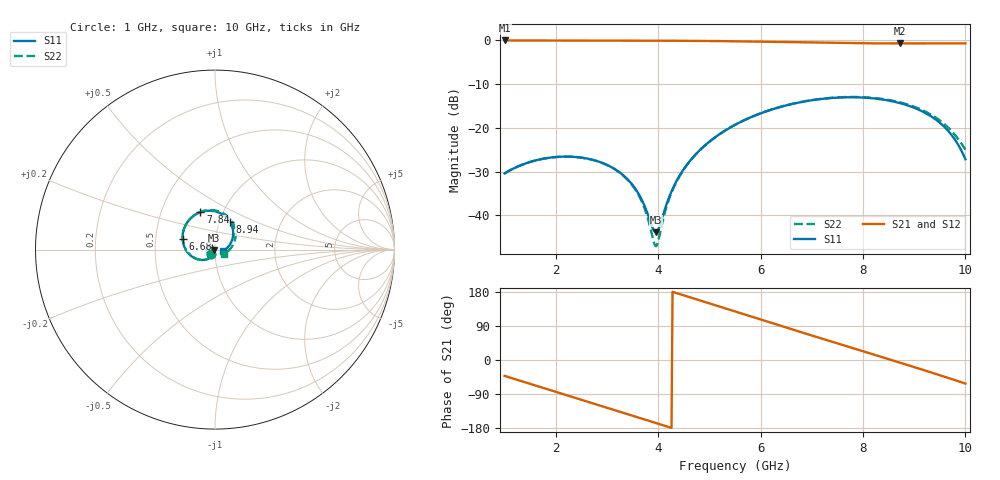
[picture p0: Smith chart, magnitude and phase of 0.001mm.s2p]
! Touchstone file exported from HFSS 2018.2.0
!  File:  C:/Users/10024/OneDrive - The University of Nottingham Ningbo China/Year 4/Final Year Project/HFSS project/Passive_Resonator_Antenna.aedt
!  Generated:  11:25:45 上午  3月 12, 2022
!  Design:  SMA_Thru
!  Project:  Passive_Resonator_Antenna
!  Setup:  Setup1
!  Solution:  Sweep
! Variables:
!  MW = 1.992mm
!  ThruL = 0.001mm
!  g = 0.2mm
!  subH = 0.8mm
!  subX = 20mm
!  subY = 10.001mm
!  tapW = 1.992mm
# GHZ S MA R 50.000000
! Modal data exported
! Port[1] = SMA_CONNECTOR1_1:1
! Port[2] = SMA_CONNECTOR2_1:1
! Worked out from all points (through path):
!   451 points, 1 GHz to 10 GHz, reference 50 ohm
!   highest |S21| = -0.01 dB at 1 GHz (marker M1); lowest = -0.7 dB at 8.72 GHz (marker M2)
!   group delay of S21, straight-line fit = 117 ps
!   lowest |S11| = -43.9 dB at 3.96 GHz (marker M3), VSWR 1.01, Z = 49.4 - j0.136 ohm
!   |S11| at or under -10 dB: start of sweep to end of sweep
!   |S22| runs from -47.1 to -12.9 dB; largest |S21 - S12| = 2.8e-14
!   S11 on the Smith chart (normalised r, x): 1 GHz: 0.96, -0.04; 6.68 GHz: 0.69, +0.09; 7.84 GHz: 0.78, +0.34; 8.94 GHz: 1.12, +0.36; 10 GHz: 1.09, -0.02
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1  0.03006 -131.0  0.9989 -42.0  0.9989 -42.0  0.03007 -133.3
! Gamma ! 0.0151858380091119 30.3716836111765 0.0151858380091291 30.3716836111941
! Port Impedance50 0 50 0
1.78  0.04456 -163.2  0.9975 -74.7  0.9975 -74.7  0.04455 -165.3
2.5  0.04561 168.0  0.9963 -104.9  0.9963 -104.9  0.04555 165.4
3.04  0.03668 147.9  0.9953 -127.6  0.9953 -127.6  0.03653 144.4
3.44  0.02437 136.5  0.9945 -144.5  0.9945 -144.5  0.02404 131.2
3.7  0.01415 137.3  0.9938 -155.5  0.9938 -155.5  0.01346 128.8
3.92  0.006632 175.5  0.993 -164.8  0.993 -164.8  0.004796 167.4
3.96  0.006391 -167.6  0.9928 -166.5  0.9928 -166.5  0.004424 -168.0
4  0.006851 -150.8  0.9926 -168.2  0.9926 -168.2  0.005039 -144.3
4.22  0.01648 -114.2  0.9915 -177.5  0.9915 -177.5  0.01579 -108.7
4.5  0.03376 -114.2  0.9895 170.6  0.9895 170.6  0.03344 -112.0
4.92  0.06343 -126.9  0.9855 152.7  0.9855 152.7  0.06333 -126.5
5.5  0.1081 -149.4  0.9773 128.0  0.9773 128.0  0.1082 -150.0
6.1  0.1536 -174.2  0.9656 102.5  0.9656 102.5  0.154 -175.4
6.68  0.191 161.3  0.9524 78.1  0.9524 78.1  0.1917 159.6
7  0.2067 147.6  0.9451 64.6  0.9451 64.6  0.2076 145.7
7.84  0.2235 111.4  0.9294 29.7  0.9294 29.7  0.2254 108.6
8.5  0.2051 82.0  0.9238 2.3  0.9238 2.3  0.2084 78.3
8.72  0.1919 71.8  0.9234 -6.9  0.9234 -6.9  0.1957 67.7
8.94  0.1748 61.4  0.9237 -16.2  0.9237 -16.2  0.1793 56.8
9.56  0.1064 28.0  0.9262 -42.7  0.9262 -42.7  0.1139 20.7
10  0.04363 -14.0  0.9257 -62.1  0.9257 -62.1  0.05649 -24.4
